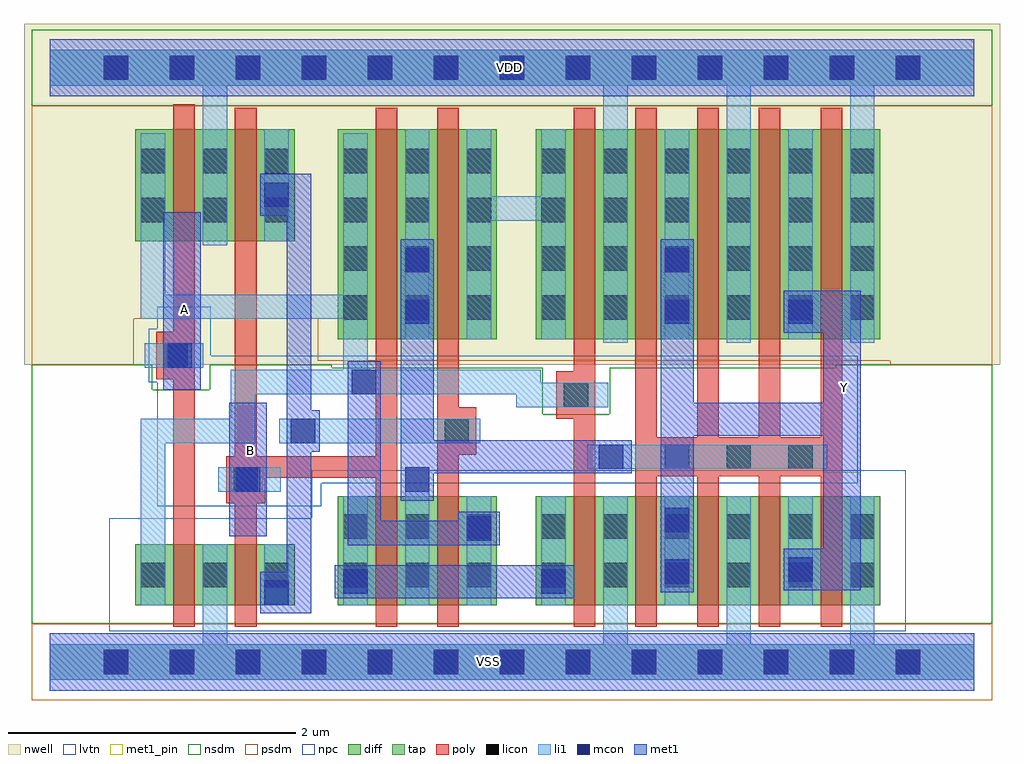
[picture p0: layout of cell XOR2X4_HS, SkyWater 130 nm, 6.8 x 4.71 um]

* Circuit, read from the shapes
.subckt XOR2X4_HS A B VDD VSS Y
XM1 VSS A n1 VSS sky130_fd_pr__nfet_01v8_lvt w=0.425 l=0.15
XM2 n2 B VSS VSS sky130_fd_pr__nfet_01v8_lvt w=0.425 l=0.15
XM3 n3 B n4 VSS sky130_fd_pr__nfet_01v8_lvt w=0.76 l=0.15
XM4 n1 n2 n3 VSS sky130_fd_pr__nfet_01v8_lvt w=0.76 l=0.15
XM5 VSS n1 n4 VSS sky130_fd_pr__nfet_01v8_lvt w=0.76 l=0.15
XM6 Y n3 VSS VSS sky130_fd_pr__nfet_01v8_lvt w=0.76 l=0.15 m=4
XM7 VDD A n1 VDD sky130_fd_pr__pfet_01v8 w=0.78 l=0.15
XM8 n2 B VDD VDD sky130_fd_pr__pfet_01v8 w=0.78 l=0.15
XM9 n3 B n1 VDD sky130_fd_pr__pfet_01v8 w=1.46 l=0.15
XM10 n5 n2 n3 VDD sky130_fd_pr__pfet_01v8 w=1.46 l=0.15
XM11 VDD n1 n5 VDD sky130_fd_pr__pfet_01v8 w=1.46 l=0.15
XM12 Y n3 VDD VDD sky130_fd_pr__pfet_01v8 w=1.46 l=0.15 m=4
.ends

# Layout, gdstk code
from math import pi, radians
import gdstk
lib = gdstk.Library(unit=1e-6, precision=1e-09)
def R(c, l, rs):  # rectangles x0, y0, x1, y1
    for r in rs: c.add(gdstk.rectangle(r[:2], r[2:], *l))
def A(c, l, x, y, w, h, nx, ny, dx, dy):  # array of equal rectangles
    R(c, l, [(x+i*dx, y+j*dy, x+i*dx+w, y+j*dy+h) for i in range(nx) for j in range(ny)])
def P(c, l, *ps):  # polygons
    for p in ps: c.add(gdstk.Polygon(p, *l))
nwell = (64, 20)
diff = (65, 20)
tap = (65, 44)
poly = (66, 20)
licon = (66, 44)
li1 = (67, 20)
mcon = (67, 44)
met1_pin = (68, 16)
met1 = (68, 20)
nsdm = (93, 44)
psdm = (94, 20)
npc = (95, 20)
lvtn = (125, 44)

l1m1_c_cdns_758729172860 = lib.new_cell('L1M1_C_CDNS_758729172860')
R(l1m1_c_cdns_758729172860, li1, [(-0.165,-0.085,0.165,0.085)])
R(l1m1_c_cdns_758729172860, mcon, [(-0.085,-0.085,0.085,0.085)])
R(l1m1_c_cdns_758729172860, met1, [(-0.115,-0.145,0.115,0.145)])

l1m1_c_cdns_758729172861 = lib.new_cell('L1M1_C_CDNS_758729172861')
R(l1m1_c_cdns_758729172861, li1, [(-0.085,-0.165,0.085,0.165)])
R(l1m1_c_cdns_758729172861, mcon, [(-0.085,-0.085,0.085,0.085)])
R(l1m1_c_cdns_758729172861, met1, [(-0.115,-0.145,0.115,0.145)])

pyl1con_c_cdns_758729172 = lib.new_cell('PYL1CON_C_CDNS_758729172862')
R(pyl1con_c_cdns_758729172, poly, [(-0.135,-0.165,0.135,0.165)])
R(pyl1con_c_cdns_758729172, licon, [(-0.085,-0.085,0.085,0.085)])
R(pyl1con_c_cdns_758729172, npc, [(-0.185,-0.185,0.185,0.185)])

l1m1_c_cdns_758729172863 = lib.new_cell('L1M1_C_CDNS_758729172863')
R(l1m1_c_cdns_758729172863, li1, [(-0.085,-0.165,0.085,0.165)])
R(l1m1_c_cdns_758729172863, mcon, [(-0.085,-0.085,0.085,0.085)])
R(l1m1_c_cdns_758729172863, met1, [(-0.145,-0.115,0.145,0.115)])

l1m1_c_cdns_758729172864 = lib.new_cell('L1M1_C_CDNS_758729172864')
R(l1m1_c_cdns_758729172864, li1, [(-0.085,-0.345,0.085,0.345)])
R(l1m1_c_cdns_758729172864, mcon, [(-0.085,-0.265,0.085,-0.095), (-0.085,0.095,0.085,0.265)])
R(l1m1_c_cdns_758729172864, met1, [(-0.115,-0.325,0.115,0.325)])

l1m1_c_cdns_758729172865 = lib.new_cell('L1M1_C_CDNS_758729172865')
R(l1m1_c_cdns_758729172865, li1, [(-0.165,-0.085,0.165,0.085)])
R(l1m1_c_cdns_758729172865, mcon, [(-0.085,-0.085,0.085,0.085)])
R(l1m1_c_cdns_758729172865, met1, [(-0.145,-0.115,0.145,0.115)])

l1m1_c_cdns_758729172866 = lib.new_cell('L1M1_C_CDNS_758729172866')
R(l1m1_c_cdns_758729172866, li1, [(-0.085,-0.085,0.085,0.085)])
R(l1m1_c_cdns_758729172866, mcon, [(-0.085,-0.085,0.085,0.085)])
R(l1m1_c_cdns_758729172866, met1, [(-0.115,-0.145,0.115,0.145)])

l1m1_c_cdns_758729172867 = lib.new_cell('L1M1_C_CDNS_758729172867')
R(l1m1_c_cdns_758729172867, li1, [(-0.085,-0.085,0.085,0.165)])
R(l1m1_c_cdns_758729172867, mcon, [(-0.085,-0.085,0.085,0.085)])
R(l1m1_c_cdns_758729172867, met1, [(-0.115,-0.145,0.115,0.145)])

xor2x4_hs = lib.new_cell('XOR2X4_HS')
R(xor2x4_hs, nwell, [(-0.18,2.07,6.62,4.445)])
R(xor2x4_hs, diff, [(0.595,0.395,1.705,0.82), (2.005,0.395,3.115,1.155), (3.385,0.395,5.785,1.155), (2.005,2.25,3.115,3.71), (3.385,2.25,5.785,3.71), (0.595,2.93,1.705,3.71)])
A(xor2x4_hs, poly, 3.65, 0.245, 0.15, 3.615, 5, 1, 0.43, 0)
R(xor2x4_hs, poly, [(0.86,0.245,1.01,3.885), (2.7,0.245,2.85,3.86)])
P(xor2x4_hs, poly, [(2.42,3.86),(2.27,3.86),(2.27,1.435),(1.44,1.435),(1.44,3.86),(1.29,3.86),(1.29,1.435),(1.23,1.435),(1.23,1.285),(1.29,1.285),(1.29,0.245),(1.44,0.245),(1.44,1.285),(2.27,1.285),(2.27,0.245),(2.42,0.245)])
A(xor2x4_hs, licon, 0.375, -0.085, 0.17, 0.17, 13, 2, 0.46, 4.14)
A(xor2x4_hs, licon, 0.635, 0.52, 0.17, 0.17, 3, 2, 0.43, 2.545)
A(xor2x4_hs, licon, 2.045, 0.52, 0.17, 0.17, 3, 2, 0.43, 0.34)
A(xor2x4_hs, licon, 3.425, 0.52, 0.17, 0.17, 6, 2, 0.43, 0.34)
A(xor2x4_hs, licon, 2.045, 2.385, 0.17, 0.17, 3, 4, 0.43, 0.34)
A(xor2x4_hs, licon, 3.425, 2.385, 0.17, 0.17, 6, 4, 0.43, 0.34)
A(xor2x4_hs, licon, 0.635, 3.405, 0.17, 0.17, 3, 1, 0.43, 0)
A(xor2x4_hs, li1, 3.425, 0.395, 0.17, 0.76, 3, 1, 0.86, 0)
R(xor2x4_hs, li1, [(1.495,0.395,1.665,0.82), (2.045,0.395,2.215,1.155), (2.475,0.395,2.645,1.355), (2.905,0.395,3.075,1.155), (2.475,2.25,2.645,3.71), (4.285,2.25,4.455,3.71), (5.145,2.25,5.315,3.71), (1.495,2.93,1.665,3.71)])
P(xor2x4_hs, li1, [(3.595,3.71),(3.425,3.71),(3.425,3.245),(3.075,3.245),(3.075,3.71),(2.905,3.71),(2.905,2.25),(3.075,2.25),(3.075,3.075),(3.425,3.075),(3.425,2.25),(3.595,2.25)],
  [(3.89,1.945),(3.42,1.945),(3.42,2.035),(2.215,2.035),(2.215,3.685),(2.045,3.685),(2.045,2.56),(0.805,2.56),(0.805,3.685),(0.635,3.685),(0.635,2.39),(2.045,2.39),(2.045,2.035),(1.26,2.035),(1.26,1.695),(0.635,1.695),(0.635,0.395),(0.805,0.395),(0.805,1.525),(1.43,1.525),(1.43,1.865),(3.25,1.865),(3.25,1.775),(3.89,1.775)],
  [(6.44,4.265),(0,4.265),(0,4.015),(1.065,4.015),(1.065,2.905),(1.235,2.905),(1.235,4.015),(3.855,4.015),(3.855,2.225),(4.025,2.225),(4.025,4.015),(4.715,4.015),(4.715,2.225),(4.885,2.225),(4.885,4.015),(5.575,4.015),(5.575,2.225),(5.745,2.225),(5.745,4.015),(6.44,4.015)],
  [(6.44,0.125),(5.745,0.125),(5.745,1.155),(5.575,1.155),(5.575,0.125),(4.885,0.125),(4.885,1.155),(4.715,1.155),(4.715,0.125),(4.025,0.125),(4.025,1.155),(3.855,1.155),(3.855,0.125),(1.235,0.125),(1.235,0.82),(1.065,0.82),(1.065,0.125),(0,0.125),(0,-0.125),(6.44,-0.125)])
A(xor2x4_hs, mcon, 0.375, -0.085, 0.17, 0.17, 13, 2, 0.46, 4.14)
R(xor2x4_hs, met1_pin, [(1.25,0.875,1.51,1.805), (5.39,1.32,5.65,2.56), (0.79,1.895,1.05,3.135)])
P(xor2x4_hs, met1, [(1.82,3.4),(1.465,3.4),(1.465,3.11),(1.65,3.11),(1.65,0.63),(1.58,0.63),(1.58,0.34),(1.82,0.34)],
  [(3.105,0.985),(2.305,0.985),(2.305,1.95),(2.075,1.95),(2.075,0.815),(3.105,0.815)],
  [(4.055,1.545),(2.675,1.545),(2.675,2.895),(2.445,2.895),(2.445,1.125),(2.675,1.125),(2.675,1.315),(4.055,1.315)],
  [(5.65,2.585),(5.23,2.585),(5.23,2.295),(5.39,2.295),(5.39,1.805),(4.485,1.805),(4.485,2.895),(4.255,2.895),(4.255,0.485),(4.485,0.485),(4.485,1.575),(5.39,1.575),(5.39,0.79),(5.23,0.79),(5.23,0.67),(5.215,0.67),(5.215,0.5),(5.65,0.5)])
R(xor2x4_hs, nsdm, [(-0.125,3.875,6.565,4.405)])
P(xor2x4_hs, nsdm, [(6.565,2.07),(5.475,2.07),(5.475,2.05),(3.9,2.05),(3.9,1.725),(3.435,1.725),(3.435,2.05),(1.965,2.05),(1.965,2.07),(1.115,2.07),(1.115,1.895),(0.715,1.895),(0.715,2.07),(-0.125,2.07),(-0.125,0.265),(6.565,0.265)])
R(xor2x4_hs, psdm, [(-0.125,-0.265,6.565,0.265)])
P(xor2x4_hs, psdm, [(6.565,3.875),(-0.125,3.875),(-0.125,2.07),(0.585,2.07),(0.585,2.39),(1.865,2.39),(1.865,2.1),(5.855,2.1),(5.855,2.07),(6.565,2.07)])
P(xor2x4_hs, npc, [(5.63,2.135),(1.12,2.135),(1.12,2.475),(0.75,2.475),(0.75,1.085),(1.89,1.085),(1.89,1.245),(5.63,1.245)])
P(xor2x4_hs, lvtn, [(5.965,1.335),(1.825,1.335),(1.825,1),(0.415,1),(0.415,0.215),(5.965,0.215)])
xor2x4_hs.add(gdstk.FlexPath([(5.415,1.43),(3.745,1.43)], 0.17, ends="flush", simple_path=True, layer=67, datatype=20))  # li1
xor2x4_hs.add(gdstk.FlexPath([(3,1.61),(1.6,1.61)], 0.17, ends="flush", simple_path=True, layer=67, datatype=20))  # li1
xor2x4_hs.add(gdstk.FlexPath([(1.175,1.27),(1.61,1.27)], 0.17, ends="flush", simple_path=True, layer=67, datatype=20))  # li1
xor2x4_hs.add(gdstk.FlexPath([(0.905,2.135),(0.66,2.135)], 0.17, ends="flush", simple_path=True, layer=67, datatype=20))  # li1
xor2x4_hs.add(gdstk.FlexPath([(0,4.14),(6.44,4.14)], 0.4, ends="flush", simple_path=True, layer=68, datatype=20))  # met1
xor2x4_hs.add(gdstk.FlexPath([(0,0),(6.44,0)], 0.4, ends="flush", simple_path=True, layer=68, datatype=20))  # met1
xor2x4_hs.add(gdstk.FlexPath([(2.275,0.56),(3.655,0.56)], 0.23, ends="flush", simple_path=True, layer=68, datatype=20))  # met1
xor2x4_hs.add(gdstk.FlexPath([(1.38,0.875),(1.38,1.805)], 0.26, ends="flush", simple_path=True, layer=68, datatype=20))  # met1
xor2x4_hs.add(gdstk.FlexPath([(0.92,1.895),(0.92,3.135)], 0.26, ends="flush", simple_path=True, layer=68, datatype=20))  # met1
xor2x4_hs.add(gdstk.FlexPath([(0,4.14),(6.44,4.14)], 0.25, ends="flush", simple_path=True, layer=65, datatype=44))  # tap
xor2x4_hs.add(gdstk.FlexPath([(0,0),(6.44,0)], 0.25, ends="flush", simple_path=True, layer=65, datatype=44))  # tap
xor2x4_hs.add(gdstk.FlexPath([(0,4.14),(6.44,4.14)], 0.4, ends="flush", simple_path=True, layer=68, datatype=16))  # met1_pin
xor2x4_hs.add(gdstk.FlexPath([(0,0),(6.44,0)], 0.4, ends="flush", simple_path=True, layer=68, datatype=16))  # met1_pin
xor2x4_hs.add(gdstk.Reference(l1m1_c_cdns_758729172860, (1.38,1.27), x_reflection=True))
xor2x4_hs.add(gdstk.Reference(l1m1_c_cdns_758729172860, (0.905,2.135), x_reflection=True))
xor2x4_hs.add(gdstk.Reference(l1m1_c_cdns_758729172860, (2.19,1.95)))
xor2x4_hs.add(gdstk.Reference(l1m1_c_cdns_758729172861, (5.23,2.44)))
xor2x4_hs.add(gdstk.Reference(l1m1_c_cdns_758729172861, (5.23,0.645)))
xor2x4_hs.add(gdstk.Reference(l1m1_c_cdns_758729172861, (1.58,3.255)))
xor2x4_hs.add(gdstk.Reference(pyl1con_c_cdns_758729172, (2.835,1.61), x_reflection=True))
xor2x4_hs.add(gdstk.Reference(pyl1con_c_cdns_758729172, (5.23,1.43), rotation=3*pi/2, x_reflection=True))
xor2x4_hs.add(gdstk.Reference(pyl1con_c_cdns_758729172, (4.8,1.43), rotation=3*pi/2, x_reflection=True))
xor2x4_hs.add(gdstk.Reference(pyl1con_c_cdns_758729172, (4.37,1.43), rotation=3*pi/2, x_reflection=True))
xor2x4_hs.add(gdstk.Reference(pyl1con_c_cdns_758729172, (3.665,1.86), x_reflection=True))
xor2x4_hs.add(gdstk.Reference(pyl1con_c_cdns_758729172, (1.365,1.27), rotation=pi, x_reflection=True))
xor2x4_hs.add(gdstk.Reference(pyl1con_c_cdns_758729172, (0.875,2.135), rotation=pi, x_reflection=True))
xor2x4_hs.add(gdstk.Reference(l1m1_c_cdns_758729172863, (3.51,0.56)))
xor2x4_hs.add(gdstk.Reference(l1m1_c_cdns_758729172863, (2.13,0.56)))
xor2x4_hs.add(gdstk.Reference(l1m1_c_cdns_758729172863, (2.99,0.93)))
xor2x4_hs.add(gdstk.Reference(l1m1_c_cdns_758729172863, (1.765,1.61), rotation=pi/2))
xor2x4_hs.add(gdstk.Reference(l1m1_c_cdns_758729172864, (2.56,2.62)))
xor2x4_hs.add(gdstk.Reference(l1m1_c_cdns_758729172864, (4.37,2.62)))
xor2x4_hs.add(gdstk.Reference(l1m1_c_cdns_758729172864, (4.37,0.81)))
xor2x4_hs.add(gdstk.Reference(l1m1_c_cdns_758729172865, (3.91,1.43)))
xor2x4_hs.add(gdstk.Reference(l1m1_c_cdns_758729172866, (2.56,1.27)))
xor2x4_hs.add(gdstk.Reference(l1m1_c_cdns_758729172867, (1.58,0.485)))
xor2x4_hs.add(gdstk.Label('VDD', (3.2,4.145), layer=68, texttype=5))
xor2x4_hs.add(gdstk.Label('Y', (5.535,1.915), layer=68, texttype=5))
xor2x4_hs.add(gdstk.Label('B', (1.395,1.47), layer=68, texttype=5))
xor2x4_hs.add(gdstk.Label('VSS', (3.055,0.005), layer=68, texttype=5))
xor2x4_hs.add(gdstk.Label('A', (0.935,2.455), layer=68, texttype=5))

lib.write_gds('XOR2X4_HS.gds')
